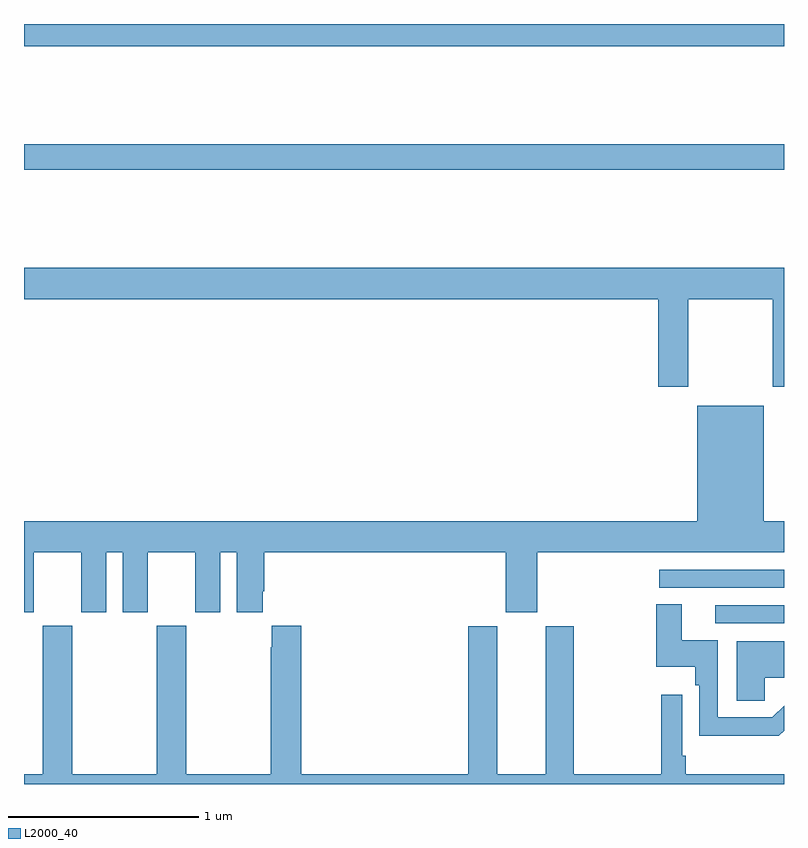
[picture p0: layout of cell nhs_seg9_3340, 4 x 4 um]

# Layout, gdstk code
import gdstk
lib = gdstk.Library(unit=1e-6, precision=1e-09)
def R(c, l, rs):  # rectangles x0, y0, x1, y1
    for r in rs: c.add(gdstk.rectangle(r[:2], r[2:], *l))
def P(c, l, *ps):  # polygons
    for p in ps: c.add(gdstk.Polygon(p, *l))
L2000_40 = (2000, 40)

nhs_seg9_3340 = lib.new_cell('nhs_seg9_3340')
R(nhs_seg9_3340, L2000_40, [(304.638,1229.346,305,1229.442), (304.344,1229.532,305,1229.628), (301,1231.732,305,1231.868), (301,1232.384,305,1232.5)])
P(nhs_seg9_3340, L2000_40, [(304.497,1231.052),(304.942,1231.052),(304.942,1230.591),(305,1230.591),(305,1231.216),(301,1231.216),(301,1231.052),(304.337,1231.052),(304.337,1230.591),(304.497,1230.591)],
  [(301.051,1229.72),(301.301,1229.72),(301.301,1229.403),(301.432,1229.403),(301.432,1229.72),(301.52,1229.72),(301.52,1229.403),(301.651,1229.403),(301.651,1229.72),(301.901,1229.72),(301.901,1229.403),(302.032,1229.403),(302.032,1229.72),(302.12,1229.72),(302.12,1229.403),(302.257,1229.403),(302.257,1229.515),(302.264,1229.515),(302.264,1229.72),(303.536,1229.72),(303.536,1229.403),(303.7,1229.403),(303.7,1229.72),(305,1229.72),(305,1229.884),(304.894,1229.884),(304.894,1230.49),(304.544,1230.49),(304.544,1229.884),(301,1229.884),(301,1229.403),(301.051,1229.403)],
  [(305,1228.781),(305,1228.913),(304.938,1228.851),(304.65,1228.851),(304.65,1229.257),(304.462,1229.257),(304.462,1229.446),(304.327,1229.446),(304.327,1229.117),(304.534,1229.117),(304.534,1229.021),(304.554,1229.021),(304.554,1228.754),(304.973,1228.754)],
  [(305,1228.552),(304.483,1228.552),(304.483,1228.648),(304.465,1228.648),(304.465,1228.969),(304.354,1228.969),(304.354,1228.552),(303.894,1228.552),(303.894,1229.331),(303.746,1229.331),(303.746,1228.552),(303.49,1228.552),(303.49,1229.331),(303.338,1229.331),(303.338,1228.552),(302.459,1228.552),(302.459,1229.332),(302.303,1229.332),(302.303,1229.219),(302.299,1229.219),(302.299,1228.552),(301.854,1228.552),(301.854,1229.332),(301.699,1229.332),(301.699,1228.552),(301.254,1228.552),(301.254,1229.332),(301.099,1229.332),(301.099,1228.552),(301,1228.552),(301,1228.5),(305,1228.5)],
  [(304.898,1229.06),(305,1229.06),(305,1229.251),(304.751,1229.251),(304.751,1228.938),(304.898,1228.938)])

lib.write_gds('nhs_seg9_3340.gds')
